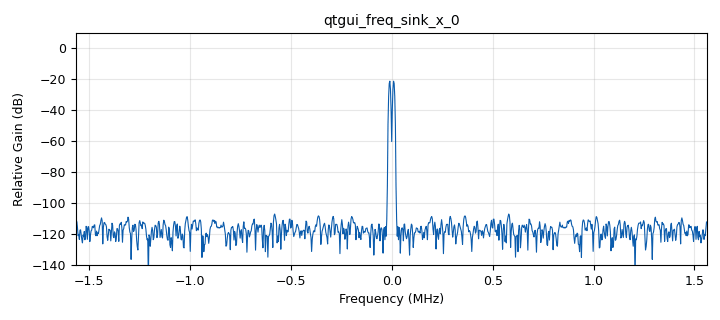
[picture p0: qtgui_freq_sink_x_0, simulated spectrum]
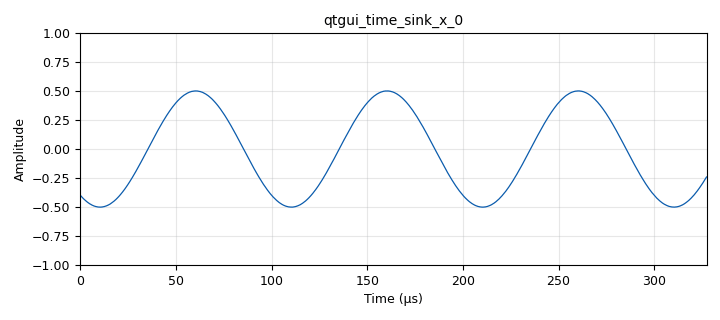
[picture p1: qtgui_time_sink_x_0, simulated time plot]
options:
  parameters:
    author: labcom
    generate_options: qt_gui
    id: Preba_00
    output_language: python
    title: No tit led yet
  states: {}

blocks:
- name: A
  id: variable_qtgui_range
  parameters:
    label: Amplitud de señal
    start: '0'
    step: '1e-2'
    stop: '500e-3'
    value: '500e-3'
  states: {}
- name: GTX
  id: variable_qtgui_range
  parameters:
    label: Ganancia de transmicion
    start: '0'
    step: '50e-2'
    stop: '30'
    value: '50e-2'
  states: {}
- name: 'No'
  id: variable_qtgui_range
  parameters:
    label: Amplitud ruido
    start: '0'
    step: '1e-6'
    stop: '10e-2'
    value: '1e-4'
  states: {}
- name: fc
  id: variable_qtgui_range
  parameters:
    label: Frecencia Portedora
    start: 50e6
    step: 1e5
    stop: 1e9
    value: 200e6
  states: {}
- name: fcut
  id: variable_qtgui_range
  parameters:
    start: '0'
    step: '100'
    stop: samp_rate/2
    value: samp_rate/2
  states: {}
- name: fm
  id: variable_qtgui_range
  parameters:
    label: Frecuencia de señal
    start: '1000'
    step: '1000'
    stop: 1e6
    value: 1e4
  states: {}
- name: samp_rate
  id: variable
  parameters:
    value: 25e6/8
  states: {}
- name: t_band
  id: variable_qtgui_range
  parameters:
    label: Banda de transicion
    start: '0'
    step: '100'
    stop: samp_rate/20
    value: samp_rate/20
  states: {}
- name: analog_noise_source_x_0
  id: analog_noise_source_x
  parameters:
    amp: 'No'
    noise_type: analog.GR_GAUSSIAN
    seed: '0'
    type: float
  states: {}
- name: analog_sig_source_x_0
  id: analog_sig_source_x
  parameters:
    amp: A
    freq: fm
    offset: '0'
    phase: '0'
    samp_rate: samp_rate
    type: float
    waveform: analog.GR_SQR_WAVE
  states: {state: disabled}
- name: analog_sig_source_x_1
  id: analog_sig_source_x
  parameters:
    amp: A
    freq: fm
    offset: '0'
    phase: '0'
    samp_rate: samp_rate
    type: float
    waveform: analog.GR_SIN_WAVE
  states: {}
- name: blocks_add_xx_0
  id: blocks_add_xx
  parameters:
    type: float
  states: {}
- name: blocks_float_to_complex_0
  id: blocks_float_to_complex
  parameters: {}
  states: {}
- name: blocks_throttle2_0
  id: blocks_throttle2
  parameters:
    samples_per_second: samp_rate
    type: float
  states: {}
- name: low_pass_filter_0
  id: low_pass_filter
  parameters:
    cutoff_freq: fcut
    decim: '1'
    gain: '1'
    samp_rate: samp_rate
    type: fir_filter_fff
    width: t_band
    win: window.WIN_HAMMING
  states: {}
- name: qtgui_freq_sink_x_0
  id: qtgui_freq_sink_x
  parameters:
    bw: samp_rate
    fc: '0'
    fftsize: '1024'
    type: float
  states: {}
- name: qtgui_time_sink_x_0
  id: qtgui_time_sink_x
  parameters:
    size: '1024'
    srate: samp_rate
    type: float
  states: {}
- name: uhd_usrp_sink_1
  id: uhd_usrp_sink
  parameters:
    ant0: '"TX/RX"'
    center_freq0: fc
    gain0: GTX
    samp_rate: samp_rate
    stream_args: '0'
    sync: pc_clock
    type: fc32
  states: {}

connections:
- [analog_noise_source_x_0, '0', blocks_add_xx_0, '1']
- [analog_sig_source_x_1, '0', blocks_throttle2_0, '0']
- [blocks_add_xx_0, '0', low_pass_filter_0, '0']
- [blocks_float_to_complex_0, '0', uhd_usrp_sink_1, '0']
- [blocks_throttle2_0, '0', blocks_add_xx_0, '0']
- [low_pass_filter_0, '0', blocks_float_to_complex_0, '0']
- [low_pass_filter_0, '0', qtgui_freq_sink_x_0, '0']
- [low_pass_filter_0, '0', qtgui_time_sink_x_0, '0']

metadata:
  file_format: 1
  grc_version: v3.11.0.0git-810-g1ecb8565
